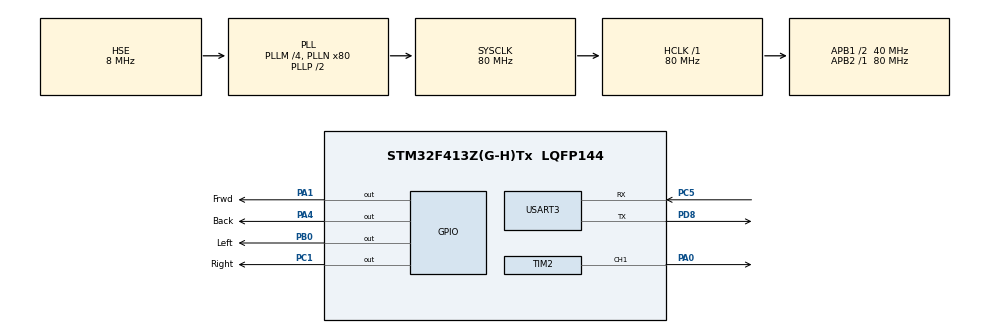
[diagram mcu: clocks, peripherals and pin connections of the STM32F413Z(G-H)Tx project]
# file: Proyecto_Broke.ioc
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Mcu.Family=STM32F4
Mcu.Name=STM32F413Z(G-H)Tx
Mcu.Package=LQFP144
NVIC.PriorityGroup=NVIC_PRIORITYGROUP_4
NVIC.USART3_IRQn=true\:0\:0\:false\:false\:true\:true\:true\:true
PA0.Signal=S_TIM2_CH1_ETR
PA1.GPIO_Label=Frwd
PA1.Signal=GPIO_Output
PA4.GPIO_Label=Back
PA4.Signal=GPIO_Output
PB0.GPIO_Label=Left
PB0.Signal=GPIO_Output
PC1.GPIO_Label=Right
PC1.Signal=GPIO_Output
PC5.Mode=Asynchronous
PC5.Signal=USART3_RX
PD8.Mode=Asynchronous
PD8.Signal=USART3_TX
PH0\ -\ OSC_IN.Mode=HSE-External-Oscillator
PH0\ -\ OSC_IN.Signal=RCC_OSC_IN
PH1\ -\ OSC_OUT.Mode=HSE-External-Oscillator
PH1\ -\ OSC_OUT.Signal=RCC_OSC_OUT
ProjectManager.HeapSize=0x200
ProjectManager.StackSize=0x400
ProjectManager.TargetToolchain=STM32CubeIDE
RCC.AHBFreq_Value=80000000
RCC.APB1CLKDivider=RCC_HCLK_DIV2
RCC.APB1Freq_Value=40000000
RCC.APB1TimFreq_Value=80000000
RCC.APB2Freq_Value=80000000
RCC.APB2TimFreq_Value=80000000
RCC.CortexFreq_Value=80000000
RCC.HCLKFreq_Value=80000000
RCC.HSE_VALUE=8000000
RCC.PLLM=4
RCC.PLLN=80
RCC.PLLSourceVirtual=RCC_PLLSOURCE_HSE
RCC.SYSCLKFreq_VALUE=80000000
RCC.SYSCLKSource=RCC_SYSCLKSOURCE_PLLCLK
RCC.USBFreq_Value=80000000
RCC.VCOOutputFreq_Value=160000000
SH.S_TIM2_CH1_ETR.0=TIM2_CH1,PWM Generation1 CH1
TIM2.AutoReloadPreload=TIM_AUTORELOAD_PRELOAD_ENABLE
TIM2.Channel-PWM\ Generation1\ CH1=TIM_CHANNEL_1
TIM2.Period=100-1
TIM2.Prescaler=80-1
TIM2.Pulse-PWM\ Generation1\ CH1=0
USART3.VirtualMode=VM_ASYNC
VP_TIM2_VS_ClockSourceINT.Mode=Internal
board=custom

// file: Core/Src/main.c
/* USER CODE BEGIN Header */
/**
  ******************************************************************************
  * @file           : main.c
  * @brief          : Main program body
  ******************************************************************************
  * @attention
  *
  * Copyright (c) 2024 STMicroelectronics.
  * All rights reserved.
  *
  * This software is licensed under terms that can be found in the LICENSE file
  * in the root directory of this software component.
  * If no LICENSE file comes with this software, it is provided AS-IS.
  *
  ******************************************************************************
  */
/* USER CODE END Header */
#include "main.h"

/* USER CODE BEGIN Includes */
#include <stdio.h>
#include <stdbool.h>
/* USER CODE END Includes */

TIM_HandleTypeDef htim2;

UART_HandleTypeDef huart3;

void SystemClock_Config(void);
static void MX_GPIO_Init(void);
static void MX_TIM2_Init(void);
static void MX_USART3_UART_Init(void);
/* USER CODE BEGIN PFP */
bool compareArrays(uint8_t arr1[], uint8_t arr2[], int size);
/* USER CODE END PFP */

/* USER CODE BEGIN 0 */
uint8_t buffer[1];
uint8_t recto[1]="0";
uint8_t izq[1]="1";
uint8_t der[1]="2";
uint8_t avan_len[1]="3";
uint8_t avan_mid[1]="4";
uint8_t avan_rap[1]="5";
uint8_t rever_len[1]="6";
uint8_t rever_mid[1]="7";
uint8_t rever_rap[1]="8";
uint8_t park[1]="9";
/* USER CODE END 0 */

int main(void)
{

  /* MCU Configuration--------------------------------------------------------*/

  /* Reset of all peripherals, Initializes the Flash interface and the Systick. */
  HAL_Init();

  /* Configure the system clock */
  SystemClock_Config();

  /* Initialize all configured peripherals */
  MX_GPIO_Init();
  MX_TIM2_Init();
  MX_USART3_UART_Init();
  /* USER CODE BEGIN 2 */
  HAL_UART_Receive_IT(&huart3, buffer, sizeof(buffer));
  HAL_TIM_PWM_Start(&htim2, TIM_CHANNEL_1);
  /* USER CODE END 2 */

  /* Infinite loop */
  while (1)
  {

    /* USER CODE BEGIN 3 */

		  if (compareArrays(buffer,recto,1))
			{
			  HAL_GPIO_WritePin(Right_GPIO_Port, Right_Pin, 0);
			  HAL_GPIO_WritePin(Left_GPIO_Port, Left_Pin, 0);
			}
			if (compareArrays(buffer,izq,1))
			{
			  HAL_GPIO_WritePin(Right_GPIO_Port, Right_Pin, 0);
			  HAL_GPIO_WritePin(Left_GPIO_Port, Left_Pin, 1);
			}
			if (compareArrays(buffer,der,1))
			{
				HAL_GPIO_WritePin(Left_GPIO_Port, Left_Pin, 0);
				HAL_GPIO_WritePin(Right_GPIO_Port, Right_Pin, 1);
			}
			if (compareArrays(buffer,avan_len,1))
			{
				HAL_GPIO_WritePin(Back_GPIO_Port, Back_Pin, 0);
				HAL_GPIO_WritePin(Frwd_GPIO_Port, Frwd_Pin, 1);
				TIM2->CCR1 = 30;
			}
			if (compareArrays(buffer,avan_mid,1))
			{
				HAL_GPIO_WritePin(Back_GPIO_Port, Back_Pin, 0);
				HAL_GPIO_WritePin(Frwd_GPIO_Port, Frwd_Pin, 1);
				TIM2->CCR1 = 60;
			}
			if (compareArrays(buffer,avan_rap,1))
			{
				HAL_GPIO_WritePin(Back_GPIO_Port, Back_Pin, 0);
				HAL_GPIO_WritePin(Frwd_GPIO_Port, Frwd_Pin, 1);
				TIM2->CCR1 = 100;
			}
			if (compareArrays(buffer,rever_len,1))
			{
				HAL_GPIO_WritePin(Frwd_GPIO_Port, Frwd_Pin, 0);
				HAL_GPIO_WritePin(Back_GPIO_Port, Back_Pin, 1);
				TIM2->CCR1 = 30;
			}
			if (compareArrays(buffer,rever_mid,1))
			{
				HAL_GPIO_WritePin(Frwd_GPIO_Port, Frwd_Pin, 0);
				HAL_GPIO_WritePin(Back_GPIO_Port, Back_Pin, 1);
				TIM2->CCR1 = 60;
			}
			if (compareArrays(buffer,rever_rap,1))
			{
				HAL_GPIO_WritePin(Frwd_GPIO_Port, Frwd_Pin, 0);
				HAL_GPIO_WritePin(Back_GPIO_Port, Back_Pin, 1);
				TIM2->CCR1 = 100;
			}
			if (compareArrays(buffer,park,1))
			{
				HAL_GPIO_WritePin(Frwd_GPIO_Port, Frwd_Pin, 0);
				HAL_GPIO_WritePin(Back_GPIO_Port, Back_Pin, 0);
				TIM2->CCR1 = 0;
			}
	  }

  /* USER CODE END 3 */
}

void SystemClock_Config(void)
{
  RCC_OscInitTypeDef RCC_OscInitStruct = {0};
  RCC_ClkInitTypeDef RCC_ClkInitStruct = {0};

  /** Configure the main internal regulator output voltage
  */
  __HAL_RCC_PWR_CLK_ENABLE();
  __HAL_PWR_VOLTAGESCALING_CONFIG(PWR_REGULATOR_VOLTAGE_SCALE1);

  /** Initializes the RCC Oscillators according to the specified parameters
  * in the RCC_OscInitTypeDef structure.
  */
  RCC_OscInitStruct.OscillatorType = RCC_OSCILLATORTYPE_HSE;
  RCC_OscInitStruct.HSEState = RCC_HSE_ON;
  RCC_OscInitStruct.PLL.PLLState = RCC_PLL_ON;
  RCC_OscInitStruct.PLL.PLLSource = RCC_PLLSOURCE_HSE;
  RCC_OscInitStruct.PLL.PLLM = 4;
  RCC_OscInitStruct.PLL.PLLN = 80;
  RCC_OscInitStruct.PLL.PLLP = RCC_PLLP_DIV2;
  RCC_OscInitStruct.PLL.PLLQ = 2;
  RCC_OscInitStruct.PLL.PLLR = 2;
  if (HAL_RCC_OscConfig(&RCC_OscInitStruct) != HAL_OK)
  {
    Error_Handler();
  }

  /** Initializes the CPU, AHB and APB buses clocks
  */
  RCC_ClkInitStruct.ClockType = RCC_CLOCKTYPE_HCLK|RCC_CLOCKTYPE_SYSCLK
                              |RCC_CLOCKTYPE_PCLK1|RCC_CLOCKTYPE_PCLK2;
  RCC_ClkInitStruct.SYSCLKSource = RCC_SYSCLKSOURCE_PLLCLK;
  RCC_ClkInitStruct.AHBCLKDivider = RCC_SYSCLK_DIV1;
  RCC_ClkInitStruct.APB1CLKDivider = RCC_HCLK_DIV2;
  RCC_ClkInitStruct.APB2CLKDivider = RCC_HCLK_DIV1;

  if (HAL_RCC_ClockConfig(&RCC_ClkInitStruct, FLASH_LATENCY_3) != HAL_OK)
  {
    Error_Handler();
  }
}

static void MX_TIM2_Init(void)
{

  TIM_ClockConfigTypeDef sClockSourceConfig = {0};
  TIM_MasterConfigTypeDef sMasterConfig = {0};
  TIM_OC_InitTypeDef sConfigOC = {0};

  htim2.Instance = TIM2;
  htim2.Init.Prescaler = 80-1;
  htim2.Init.CounterMode = TIM_COUNTERMODE_UP;
  htim2.Init.Period = 100-1;
  htim2.Init.ClockDivision = TIM_CLOCKDIVISION_DIV1;
  htim2.Init.AutoReloadPreload = TIM_AUTORELOAD_PRELOAD_ENABLE;
  if (HAL_TIM_Base_Init(&htim2) != HAL_OK)
  {
    Error_Handler();
  }
  sClockSourceConfig.ClockSource = TIM_CLOCKSOURCE_INTERNAL;
  if (HAL_TIM_ConfigClockSource(&htim2, &sClockSourceConfig) != HAL_OK)
  {
    Error_Handler();
  }
  if (HAL_TIM_PWM_Init(&htim2) != HAL_OK)
  {
    Error_Handler();
  }
  sMasterConfig.MasterOutputTrigger = TIM_TRGO_RESET;
  sMasterConfig.MasterSlaveMode = TIM_MASTERSLAVEMODE_DISABLE;
  if (HAL_TIMEx_MasterConfigSynchronization(&htim2, &sMasterConfig) != HAL_OK)
  {
    Error_Handler();
  }
  sConfigOC.OCMode = TIM_OCMODE_PWM1;
  sConfigOC.Pulse = 0;
  sConfigOC.OCPolarity = TIM_OCPOLARITY_HIGH;
  sConfigOC.OCFastMode = TIM_OCFAST_DISABLE;
  if (HAL_TIM_PWM_ConfigChannel(&htim2, &sConfigOC, TIM_CHANNEL_1) != HAL_OK)
  {
    Error_Handler();
  }
  HAL_TIM_MspPostInit(&htim2);

}

static void MX_USART3_UART_Init(void)
{

  huart3.Instance = USART3;
  huart3.Init.BaudRate = 115200;
  huart3.Init.WordLength = UART_WORDLENGTH_8B;
  huart3.Init.StopBits = UART_STOPBITS_1;
  huart3.Init.Parity = UART_PARITY_NONE;
  huart3.Init.Mode = UART_MODE_TX_RX;
  huart3.Init.HwFlowCtl = UART_HWCONTROL_NONE;
  huart3.Init.OverSampling = UART_OVERSAMPLING_16;
  if (HAL_UART_Init(&huart3) != HAL_OK)
  {
    Error_Handler();
  }

}

static void MX_GPIO_Init(void)
{
  GPIO_InitTypeDef GPIO_InitStruct = {0};

  /* GPIO Ports Clock Enable */
  __HAL_RCC_GPIOH_CLK_ENABLE();
  __HAL_RCC_GPIOC_CLK_ENABLE();
  __HAL_RCC_GPIOA_CLK_ENABLE();
  __HAL_RCC_GPIOB_CLK_ENABLE();
  __HAL_RCC_GPIOD_CLK_ENABLE();

  /*Configure GPIO pin Output Level */
  HAL_GPIO_WritePin(Right_GPIO_Port, Right_Pin, GPIO_PIN_RESET);

  /*Configure GPIO pin Output Level */
  HAL_GPIO_WritePin(GPIOA, Frwd_Pin|Back_Pin, GPIO_PIN_RESET);

  /*Configure GPIO pin Output Level */
  HAL_GPIO_WritePin(Left_GPIO_Port, Left_Pin, GPIO_PIN_RESET);

  /*Configure GPIO pin : Right_Pin */
  GPIO_InitStruct.Pin = Right_Pin;
  GPIO_InitStruct.Mode = GPIO_MODE_OUTPUT_PP;
  GPIO_InitStruct.Pull = GPIO_NOPULL;
  GPIO_InitStruct.Speed = GPIO_SPEED_FREQ_LOW;
  HAL_GPIO_Init(Right_GPIO_Port, &GPIO_InitStruct);

  /*Configure GPIO pins : Frwd_Pin Back_Pin */
  GPIO_InitStruct.Pin = Frwd_Pin|Back_Pin;
  GPIO_InitStruct.Mode = GPIO_MODE_OUTPUT_PP;
  GPIO_InitStruct.Pull = GPIO_NOPULL;
  GPIO_InitStruct.Speed = GPIO_SPEED_FREQ_LOW;
  HAL_GPIO_Init(GPIOA, &GPIO_InitStruct);

  /*Configure GPIO pin : Left_Pin */
  GPIO_InitStruct.Pin = Left_Pin;
  GPIO_InitStruct.Mode = GPIO_MODE_OUTPUT_PP;
  GPIO_InitStruct.Pull = GPIO_NOPULL;
  GPIO_InitStruct.Speed = GPIO_SPEED_FREQ_LOW;
  HAL_GPIO_Init(Left_GPIO_Port, &GPIO_InitStruct);

}

/* USER CODE BEGIN 4 */
void HAL_UART_RxCpltCallback(UART_HandleTypeDef *huart)
{
	HAL_UART_Receive_IT(&huart3, buffer, sizeof(buffer));
	HAL_UART_Transmit_IT(&huart3, buffer, sizeof(buffer));
}

bool compareArrays(uint8_t arr1[], uint8_t arr2[], int size)
{
    for (int i = 0; i < size; i++)
    {
        if (arr1[i] != arr2[i])
        {
            return false;
        }
    }
    return true;
}
/* USER CODE END 4 */

void Error_Handler(void)
{
  __disable_irq();
  while (1)
  {
  }
}
